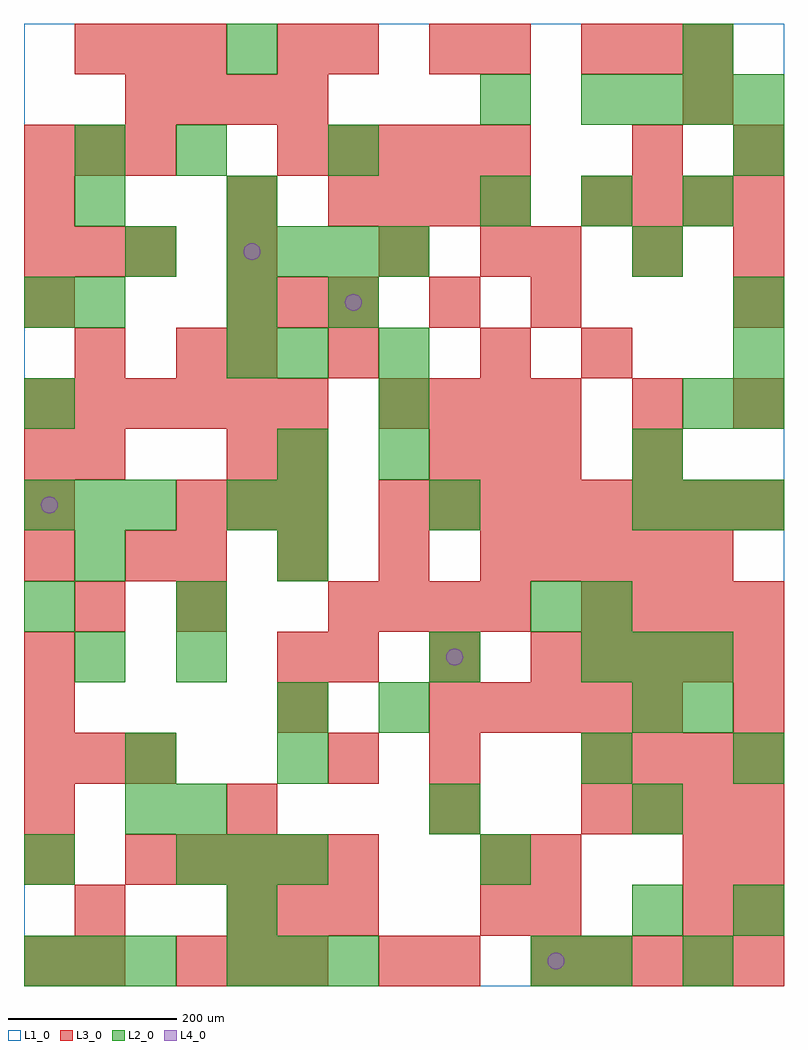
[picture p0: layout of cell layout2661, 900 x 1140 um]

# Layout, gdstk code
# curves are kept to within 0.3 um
import gdstk
lib = gdstk.Library(unit=1e-6, precision=1e-09)
def R(c, l, rs):  # rectangles x0, y0, x1, y1
    for r in rs: c.add(gdstk.rectangle(r[:2], r[2:], *l))
def A(c, l, x, y, w, h, nx, ny, dx, dy):  # array of equal rectangles
    R(c, l, [(x+i*dx, y+j*dy, x+i*dx+w, y+j*dy+h) for i in range(nx) for j in range(ny)])
def P(c, l, *ps):  # polygons
    for p in ps: c.add(gdstk.Polygon(p, *l))
L1_0 = (1, 0)
L2_0 = (2, 0)
L3_0 = (3, 0)
L4_0 = (4, 0)

layout2661 = lib.new_cell('layout2661')
R(layout2661, L1_0, [(0,0,900,1140)])
A(layout2661, L2_0, 0, 0, 60, 60, 3, 2, 60, 540)
A(layout2661, L2_0, 240, 0, 60, 60, 3, 1, 60, 0)
A(layout2661, L2_0, 720, 60, 60, 60, 1, 3, 0, 120)
A(layout2661, L2_0, 180, 120, 60, 60, 3, 1, 60, 0)
A(layout2661, L2_0, 480, 180, 60, 60, 1, 3, 0, 180)
A(layout2661, L2_0, 660, 360, 60, 60, 3, 1, 60, 0)
A(layout2661, L2_0, 300, 480, 60, 60, 1, 3, 0, 60)
A(layout2661, L2_0, 720, 540, 60, 60, 3, 1, 60, 0)
A(layout2661, L2_0, 420, 600, 60, 60, 1, 3, 0, 60)
A(layout2661, L2_0, 840, 660, 60, 60, 1, 3, 0, 60)
A(layout2661, L2_0, 240, 840, 60, 60, 4, 1, 60, 0)
A(layout2661, L2_0, 540, 900, 60, 60, 3, 1, 120, 0)
A(layout2661, L2_0, 660, 1020, 60, 60, 4, 1, 60, 0)
R(layout2661, L2_0, [(600,0,660,60), (660,0,720,60), (780,0,840,60), (240,60,300,120), (840,60,900,120), (0,120,60,180), (540,120,600,180), (120,180,180,240), (180,180,240,240), (120,240,180,300), (300,240,360,300), (660,240,720,300), (840,240,900,300), (300,300,360,360), (420,300,480,360), (780,300,840,360), (60,360,120,420), (180,360,240,420), (0,420,60,480), (180,420,240,480), (600,420,660,480), (660,420,720,480), (60,480,120,540), (240,540,300,600), (720,600,780,660), (0,660,60,720), (780,660,840,720), (240,720,300,780), (300,720,360,780), (0,780,60,840), (60,780,120,840), (240,780,300,840), (360,780,420,840), (120,840,180,900), (720,840,780,900), (60,900,120,960), (240,900,300,960), (60,960,120,1020), (180,960,240,1020), (360,960,420,1020), (840,960,900,1020), (540,1020,600,1080), (240,1080,300,1140), (780,1080,840,1140)])
A(layout2661, L3_0, 180, 0, 60, 60, 3, 2, 60, 540)
A(layout2661, L3_0, 600, 0, 60, 60, 5, 1, 60, 0)
A(layout2661, L3_0, 240, 60, 60, 60, 3, 2, 60, 720)
A(layout2661, L3_0, 120, 120, 60, 60, 5, 1, 60, 0)
A(layout2661, L3_0, 0, 180, 60, 60, 3, 1, 240, 0)
A(layout2661, L3_0, 660, 180, 60, 60, 4, 2, 60, 60)
A(layout2661, L3_0, 0, 240, 60, 60, 3, 2, 60, 600)
A(layout2661, L3_0, 480, 300, 60, 60, 5, 1, 60, 0)
A(layout2661, L3_0, 360, 360, 60, 60, 3, 1, 120, 0)
A(layout2661, L3_0, 660, 360, 60, 60, 4, 2, 60, 60)
A(layout2661, L3_0, 360, 420, 60, 60, 4, 2, 60, 480)
A(layout2661, L3_0, 0, 480, 60, 60, 1, 3, 0, 60)
A(layout2661, L3_0, 180, 480, 60, 60, 4, 1, 120, 0)
A(layout2661, L3_0, 600, 480, 60, 60, 4, 1, 60, 0)
A(layout2661, L3_0, 420, 540, 60, 60, 8, 1, 60, 0)
A(layout2661, L3_0, 240, 600, 60, 60, 1, 3, 0, 120)
A(layout2661, L3_0, 480, 600, 60, 60, 3, 1, 60, 0)
A(layout2661, L3_0, 0, 660, 60, 60, 6, 1, 60, 0)
A(layout2661, L3_0, 420, 660, 60, 60, 4, 1, 60, 0)
A(layout2661, L3_0, 600, 840, 60, 60, 3, 1, 120, 0)
A(layout2661, L3_0, 660, 900, 60, 60, 4, 1, 60, 0)
A(layout2661, L3_0, 0, 960, 60, 60, 3, 1, 60, 0)
A(layout2661, L3_0, 300, 960, 60, 60, 5, 1, 60, 0)
A(layout2661, L3_0, 120, 1020, 60, 60, 4, 1, 60, 0)
A(layout2661, L3_0, 60, 1080, 60, 60, 3, 1, 60, 0)
A(layout2661, L3_0, 660, 1080, 60, 60, 3, 1, 60, 0)
R(layout2661, L3_0, [(0,0,60,60), (60,0,120,60), (420,0,480,60), (480,0,540,60), (60,60,120,120), (540,60,600,120), (600,60,660,120), (780,60,840,120), (840,60,900,120), (0,120,60,180), (540,120,600,180), (600,120,660,180), (780,120,840,180), (840,120,900,180), (360,240,420,300), (480,240,540,300), (0,300,60,360), (300,300,360,360), (840,300,900,360), (0,360,60,420), (300,360,360,420), (60,420,120,480), (180,420,240,480), (120,480,180,540), (60,600,120,660), (300,600,360,660), (720,600,780,660), (720,660,780,720), (840,660,900,720), (60,720,120,780), (180,720,240,780), (360,720,420,780), (540,720,600,780), (660,720,720,780), (0,780,60,840), (480,780,540,840), (600,780,660,840), (840,780,900,840), (420,840,480,900), (540,840,600,900), (0,900,60,960), (240,900,300,960), (720,960,780,1020), (840,960,900,1020), (780,1020,840,1080), (300,1080,360,1140), (360,1080,420,1140), (480,1080,540,1140), (540,1080,600,1140)])
P(layout2661, L4_0, [(40,570),(39.239,573.827),(37.071,577.071),(33.827,579.239),(30,580),(26.173,579.239),(22.929,577.071),(20.761,573.827),(20,570),(20.761,566.173),(22.929,562.929),(26.173,560.761),(30,560),(33.827,560.761),(37.071,562.929),(39.239,566.173)],
  [(280,870),(279.239,873.827),(277.071,877.071),(273.827,879.239),(270,880),(266.173,879.239),(262.929,877.071),(260.761,873.827),(260,870),(260.761,866.173),(262.929,862.929),(266.173,860.761),(270,860),(273.827,860.761),(277.071,862.929),(279.239,866.173)],
  [(400,810),(399.239,813.827),(397.071,817.071),(393.827,819.239),(390,820),(386.173,819.239),(382.929,817.071),(380.761,813.827),(380,810),(380.761,806.173),(382.929,802.929),(386.173,800.761),(390,800),(393.827,800.761),(397.071,802.929),(399.239,806.173)],
  [(520,390),(519.239,393.827),(517.071,397.071),(513.827,399.239),(510,400),(506.173,399.239),(502.929,397.071),(500.761,393.827),(500,390),(500.761,386.173),(502.929,382.929),(506.173,380.761),(510,380),(513.827,380.761),(517.071,382.929),(519.239,386.173)],
  [(640,30),(639.239,33.827),(637.071,37.071),(633.827,39.239),(630,40),(626.173,39.239),(622.929,37.071),(620.761,33.827),(620,30),(620.761,26.173),(622.929,22.929),(626.173,20.761),(630,20),(633.827,20.761),(637.071,22.929),(639.239,26.173)])

lib.write_gds('layout2661.gds')
